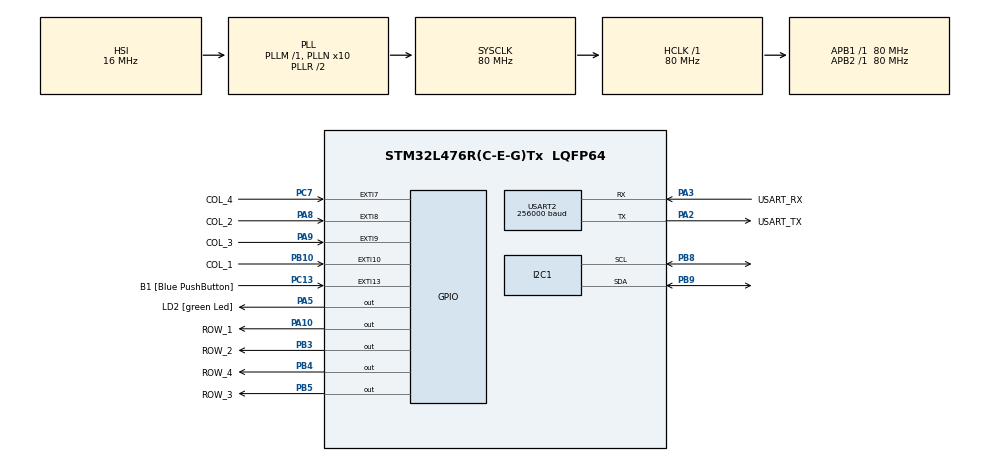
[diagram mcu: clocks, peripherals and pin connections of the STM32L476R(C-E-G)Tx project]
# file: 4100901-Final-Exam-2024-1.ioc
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I2C1.Timing=0x10909CEC
Mcu.Family=STM32L4
Mcu.Name=STM32L476R(C-E-G)Tx
Mcu.Package=LQFP64
NVIC.EXTI15_10_IRQn=true\:0\:0\:false\:false\:true\:true\:true\:true
NVIC.EXTI9_5_IRQn=true\:0\:0\:false\:false\:true\:true\:true\:true
NVIC.I2C1_ER_IRQn=true\:0\:0\:false\:false\:true\:true\:true\:true
NVIC.I2C1_EV_IRQn=true\:0\:0\:false\:false\:true\:true\:true\:true
NVIC.PriorityGroup=NVIC_PRIORITYGROUP_4
NVIC.USART2_IRQn=true\:0\:0\:false\:false\:true\:true\:true\:true
PA10.GPIO_Label=ROW_1
PA10.PinState=GPIO_PIN_SET
PA10.Signal=GPIO_Output
PA13\ (JTMS-SWDIO).GPIO_Label=TMS
PA13\ (JTMS-SWDIO).Mode=Serial_Wire
PA13\ (JTMS-SWDIO).Signal=SYS_JTMS-SWDIO
PA14\ (JTCK-SWCLK).GPIO_Label=TCK
PA14\ (JTCK-SWCLK).Mode=Serial_Wire
PA14\ (JTCK-SWCLK).Signal=SYS_JTCK-SWCLK
PA2.GPIO_Label=USART_TX
PA2.GPIO_Mode=GPIO_MODE_AF_PP
PA2.GPIO_PuPd=GPIO_NOPULL
PA2.GPIO_Speed=GPIO_SPEED_FREQ_VERY_HIGH
PA2.Mode=Asynchronous
PA2.Signal=USART2_TX
PA3.GPIO_Label=USART_RX
PA3.GPIO_Mode=GPIO_MODE_AF_PP
PA3.GPIO_PuPd=GPIO_NOPULL
PA3.GPIO_Speed=GPIO_SPEED_FREQ_VERY_HIGH
PA3.Mode=Asynchronous
PA3.Signal=USART2_RX
PA5.GPIO_Label=LD2 [green Led]
PA5.GPIO_ModeDefaultOutputPP=GPIO_MODE_OUTPUT_PP
PA5.GPIO_PuPd=GPIO_NOPULL
PA5.GPIO_Speed=GPIO_SPEED_FREQ_LOW
PA5.Signal=GPIO_Output
PA8.GPIO_Label=COL_2
PA8.GPIO_PuPd=GPIO_PULLDOWN
PA8.Signal=GPXTI8
PA9.GPIO_Label=COL_3
PA9.GPIO_PuPd=GPIO_PULLDOWN
PA9.Signal=GPXTI9
PB10.GPIO_Label=COL_1
PB10.GPIO_PuPd=GPIO_PULLDOWN
PB10.Signal=GPXTI10
PB3\ (JTDO-TRACESWO).GPIO_Label=ROW_2
PB3\ (JTDO-TRACESWO).PinState=GPIO_PIN_SET
PB3\ (JTDO-TRACESWO).Signal=GPIO_Output
PB4\ (NJTRST).GPIO_Label=ROW_4
PB4\ (NJTRST).PinState=GPIO_PIN_SET
PB4\ (NJTRST).Signal=GPIO_Output
PB5.GPIO_Label=ROW_3
PB5.PinState=GPIO_PIN_SET
PB5.Signal=GPIO_Output
PB8.Mode=I2C
PB8.Signal=I2C1_SCL
PB9.Mode=I2C
PB9.Signal=I2C1_SDA
PC13.GPIO_Label=B1 [Blue PushButton]
PC13.GPIO_ModeDefaultEXTI=GPIO_MODE_IT_FALLING
PC13.GPIO_PuPd=GPIO_NOPULL
PC13.Signal=GPXTI13
PC14-OSC32_IN\ (PC14).Mode=LSE-External-Oscillator
PC14-OSC32_IN\ (PC14).Signal=RCC_OSC32_IN
PC15-OSC32_OUT\ (PC15).Mode=LSE-External-Oscillator
PC15-OSC32_OUT\ (PC15).Signal=RCC_OSC32_OUT
PC7.GPIO_Label=COL_4
PC7.GPIO_PuPd=GPIO_PULLDOWN
PC7.Signal=GPXTI7
PH0-OSC_IN\ (PH0).Signal=RCC_OSC_IN
PH1-OSC_OUT\ (PH1).Signal=RCC_OSC_OUT
ProjectManager.HeapSize=0x200
ProjectManager.StackSize=0x400
ProjectManager.TargetToolchain=STM32CubeIDE
RCC.ADCFreq_Value=64000000
RCC.AHBFreq_Value=80000000
RCC.APB1Freq_Value=80000000
RCC.APB1TimFreq_Value=80000000
RCC.APB2Freq_Value=80000000
RCC.APB2TimFreq_Value=80000000
RCC.CortexFreq_Value=80000000
RCC.HCLKFreq_Value=80000000
RCC.HSE_VALUE=8000000
RCC.HSI_VALUE=16000000
RCC.MSI_VALUE=4000000
RCC.PLLN=10
RCC.PLLSourceVirtual=RCC_PLLSOURCE_HSI
RCC.PREFETCH_ENABLE=1
RCC.SYSCLKFreq_VALUE=80000000
RCC.SYSCLKSource=RCC_SYSCLKSOURCE_PLLCLK
RCC.USBFreq_Value=64000000
RCC.VCOOutputFreq_Value=160000000
USART2.BaudRate=256000
USART2.VirtualMode-Asynchronous=VM_ASYNC
USART2.WordLength=WORDLENGTH_8B
board=NUCLEO-L476RG

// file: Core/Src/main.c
/* USER CODE BEGIN Header */
/**
  ******************************************************************************
  * @file           : main.c
  * @brief          : Main program body
  ******************************************************************************
  * @attention
  *
  * Copyright (c) 2024 STMicroelectronics.
  * All rights reserved.
  *
  * This software is licensed under terms that can be found in the LICENSE file
  * in the root directory of this software component.
  * If no LICENSE file comes with this software, it is provided AS-IS.
  *
  ******************************************************************************
  */
/* USER CODE END Header */
#include "main.h"

/* USER CODE BEGIN Includes */
#include <stdio.h>

#include "ssd1306.h"
#include "ssd1306_fonts.h"

#include "ring_buffer.h"
#include "keypad.h"
/* USER CODE END Includes */

/* USER CODE BEGIN PM */
#define AWAKE_TIME (5 * 1000) // 5 segundos
/* USER CODE END PM */

I2C_HandleTypeDef hi2c1;

UART_HandleTypeDef huart2;

/* USER CODE BEGIN PV */
#define KEYPAD_RB_LEN 4
uint8_t keypad_data = 0xFF;
uint8_t keypad_buffer[KEYPAD_RB_LEN];
ring_buffer_t keypad_rb;

#define USART2_RB_LEN 4
uint8_t usart2_data = 0xFF;
uint8_t usart2_buffer[USART2_RB_LEN];
ring_buffer_t usart2_rb;

#define KEYPAD_MAX_DIGITS 4
uint16_t keypad_value = 0;  // Almacenar el valor actual del keypad
uint8_t keypad_digit_count = 0;  // Número de dígitos recibidos
// Declarar las variables globalmente

uint32_t usart_value = 0;   // Valor recibido por USART2
/* USER CODE END PV */

void SystemClock_Config(void);
static void MX_GPIO_Init(void);
static void MX_USART2_UART_Init(void);
static void MX_I2C1_Init(void);

/* USER CODE BEGIN 0 */
/**
 * @brief Función para transmitir datos a través del UART.
 * @param file: Descriptor del archivo (no utilizado).
 * @param ptr: Puntero al buffer de datos a transmitir.
 * @param len: Número de bytes a transmitir.
 * @retval Número de bytes transmitidos.
 */
int _write(int file, char *ptr, int len)
{
  HAL_UART_Transmit(&huart2, (uint8_t *)ptr, len, 10);
  return len;
}

/**
  * @brief  Configura el reloj del sistema para usar el oscilador interno MSI (Multi-Speed Internal)
  *         en lugar del HSI (High-Speed Internal). Esto reduce el consumo de energía al usar un
  *         reloj interno de menor frecuencia. El reloj del sistema se establece en la gama 0 del MSI
  *         (100 kHz).
  *
  *         La función realiza los siguientes pasos:
  *         1. Configura el oscilador MSI en el rango 0 (100 kHz).
  *         2. Establece el MSI como la fuente del reloj del sistema.
  *         3. Desactiva el HSI para reducir el consumo de energía.
  *
  * @retval None
  */
void SystemClock_Decrease(void)
{
    RCC_ClkInitTypeDef RCC_ClkInitStruct = {0};
    RCC_OscInitTypeDef RCC_OscInitStruct = {0};

    /* Configuración del oscilador MSI en el rango 0 (100 kHz) */
    RCC_OscInitStruct.OscillatorType = RCC_OSCILLATORTYPE_MSI;
    RCC_OscInitStruct.MSIState = RCC_MSI_ON;
    RCC_OscInitStruct.MSIClockRange = RCC_MSIRANGE_0;
    RCC_OscInitStruct.MSICalibrationValue = RCC_MSICALIBRATION_DEFAULT;
    RCC_OscInitStruct.PLL.PLLState = RCC_PLL_NONE;

    // Configura el oscilador MSI
    if(HAL_RCC_OscConfig(&RCC_OscInitStruct) != HAL_OK)
    {
        // Error en la inicialización del oscilador MSI
        Error_Handler();
    }

    /* Selecciona el MSI como fuente del reloj del sistema y mantiene los divisores de HCLK, PCLK1 y PCLK2 */
    RCC_ClkInitStruct.ClockType = RCC_CLOCKTYPE_SYSCLK;
    RCC_ClkInitStruct.SYSCLKSource = RCC_SYSCLKSOURCE_MSI;

    // Configura el reloj del sistema para usar el MSI
    if(HAL_RCC_ClockConfig(&RCC_ClkInitStruct, FLASH_LATENCY_0) != HAL_OK)
    {
        // Error en la configuración del reloj del sistema
        Error_Handler();
    }

    /* Desactiva el HSI para reducir el consumo de energía ya que se usa MSI a partir de este punto */
    __HAL_RCC_HSI_DISABLE();
}

/**
 * @brief Callback que se ejecuta cuando se recibe un dato a través de USART2.
 * @param huart: Handler del UART que generó la interrupción.
 */

/**
  * @brief  Enters a low-power sleep mode to reduce power consumption.
  *         The microcontroller will enter sleep mode for a specified duration,
  *         during which most peripherals will be disabled to save power.
  *         The system will wake up when the user push-button is pressed.
  *
  *         This function uses the System Tick Timer (SysTick) to keep track of
  *         the sleep duration. When the specified awake time has elapsed,
  *         the system will re-enable the necessary peripherals and resume normal operation.
  *
  * @note   The awake time is defined as 5 seconds (5000 milliseconds).
  *         The function disables all AHB and APB peripherals to minimize power consumption.
  *         It also suspends the SysTick timer to prevent unwanted wake-ups and then resumes it
  *         after exiting sleep mode.
  *
  * @retval None
  */
void low_power_sleep_mode(void)
{
    #define AWAKE_TIME (5 * 1000) // 5 segundos (5000 milisegundos)

    static uint32_t sleep_tick = AWAKE_TIME; // Inicializa el tiempo de sueño

    // Verifica si el tiempo actual es menor que el tiempo de sueño restante
    if (sleep_tick > HAL_GetTick()) {
        return; // No es momento de entrar en modo de sueño
    }

    printf("Sleeping\r\n");

    // Actualiza el tiempo de sueño para la próxima vez
    sleep_tick = HAL_GetTick() + AWAKE_TIME;

    // Desactiva los relojes de los periféricos AHB y APB para reducir el consumo de energía
    RCC->AHB1SMENR  = 0x0;
    RCC->AHB2SMENR  = 0x0;
    RCC->AHB3SMENR  = 0x0;

    RCC->APB1SMENR1 = 0x0;
    RCC->APB1SMENR2 = 0x0;
    RCC->APB2SMENR  = 0x0;

    // Suspende el incremento del SysTick para evitar que el modo de sueño sea interrumpido
    HAL_SuspendTick();

    // Entra en modo de sueño. El microcontrolador se despertará cuando se presione el botón del usuario
    HAL_PWR_EnterSLEEPMode(PWR_MAINREGULATOR_ON, PWR_SLEEPENTRY_WFI);

    // Reanuda el interruptor del SysTick si fue deshabilitado antes de entrar en modo de sueño
    HAL_ResumeTick();

    printf("Awake\r\n");
}

void HAL_UART_RxCpltCallback(UART_HandleTypeDef *huart)
{
	/* Data received in USART2 */
    if (huart->Instance == USART2) {
        if (usart2_data >= '0' && usart2_data <= '9') {
            ring_buffer_write(&usart2_rb, usart2_data);
            usart_value = usart_value * 10 + (usart2_data - '0');
        } else if (usart2_data == '#') {
            usart_value = 0;  // Reiniciar el valor por USART2
        }
        HAL_UART_Receive_IT(&huart2, &usart2_data, 1);
    }
}

/**
 * @brief Muestra el valor del keypad en la pantalla OLED.
 * @param value: Valor a mostrar.
 */

void display_keypad_value(uint16_t value) {
    // Limpiar la pantalla antes de escribir el nuevo valor
    ssd1306_Fill(Black);

    // Mover el cursor a una posición visible (por ejemplo, en la parte superior de la pantalla)
    ssd1306_SetCursor(0, 0);

    // Crear un buffer para almacenar el texto que se va a mostrar
    char buffer[10];

    // Convertir el valor numérico a una cadena de caracteres
    sprintf(buffer, "Keypad: %d", value);

    // Escribir la cadena en la pantalla OLED
    ssd1306_WriteString(buffer, Font_7x10, White);

    // Actualizar la pantalla para mostrar los cambios
    ssd1306_UpdateScreen();
}

/**
 * @brief Muestra el valor recibido por USART en la pantalla OLED.
 * @param value: Valor a mostrar.
 */
void display_usart_value(uint32_t value) {
    ssd1306_SetCursor(0, 20);  // Ajustar cursor para mostrar en otra línea
    char buffer[10];
    sprintf(buffer, "USART: %d", value);  // Mostrar el valor de USART
    ssd1306_WriteString(buffer, Font_7x10, White);
    ssd1306_UpdateScreen();
}

/**
 * @brief Callback de interrupción del GPIO.
 * @param GPIO_Pin: Pin que generó la interrupción.
 */

void HAL_GPIO_EXTI_Callback(uint16_t GPIO_Pin)
{
    if (GPIO_Pin == B1_Pin) {
        uint32_t result = keypad_value + usart_value;
        char buffer[50];

        // Mostrar resultado en OLED
        ssd1306_Fill(Black);  // Limpiar pantalla
        ssd1306_SetCursor(0, 0);
        sprintf(buffer, "Sum: %lu", result);
        ssd1306_WriteString(buffer, Font_7x10, White);
        ssd1306_UpdateScreen();

        // Enviar resultado al PC por USART2
        sprintf(buffer, "Result: %lu\r\n", result);
        HAL_UART_Transmit(&huart2, (uint8_t *)buffer, strlen(buffer), HAL_MAX_DELAY);

        // Encender o apagar el LED según si el resultado es par o impar
        if (result % 2 == 0) {
            HAL_GPIO_WritePin(GPIOA, GPIO_PIN_5, GPIO_PIN_SET);  // Encender LED
        } else {
            HAL_GPIO_WritePin(GPIOA, GPIO_PIN_5, GPIO_PIN_RESET);  // Apagar LED
        }
    }
}
/* USER CODE END 0 */

int main(void)
{

  /* MCU Configuration--------------------------------------------------------*/

  /* Reset of all peripherals, Initializes the Flash interface and the Systick. */
  HAL_Init();

  /* Configure the system clock */
  SystemClock_Config();

  /* Initialize all configured peripherals */
  MX_GPIO_Init();
  MX_USART2_UART_Init();
  MX_I2C1_Init();
  /* USER CODE BEGIN 2 */
  ssd1306_Init();
  ssd1306_Fill(Black);
  ssd1306_SetCursor(20, 20);
  ssd1306_WriteString("Welcome!", Font_7x10, White);
  ssd1306_UpdateScreen();

  HAL_UART_Receive_IT(&huart2, &usart2_data, 1);
  /* USER CODE END 2 */

  /* Infinite loop */
  /* USER CODE BEGIN WHILE */
  printf("Starting\r\n");
  while (1)
  {
    /* USER CODE END WHILE */

  }
}

void SystemClock_Config(void)
{
  RCC_OscInitTypeDef RCC_OscInitStruct = {0};
  RCC_ClkInitTypeDef RCC_ClkInitStruct = {0};

  /** Configure the main internal regulator output voltage
  */
  if (HAL_PWREx_ControlVoltageScaling(PWR_REGULATOR_VOLTAGE_SCALE1) != HAL_OK)
  {
    Error_Handler();
  }

  /** Initializes the RCC Oscillators according to the specified parameters
  * in the RCC_OscInitTypeDef structure.
  */
  RCC_OscInitStruct.OscillatorType = RCC_OSCILLATORTYPE_HSI;
  RCC_OscInitStruct.HSIState = RCC_HSI_ON;
  RCC_OscInitStruct.HSICalibrationValue = RCC_HSICALIBRATION_DEFAULT;
  RCC_OscInitStruct.PLL.PLLState = RCC_PLL_ON;
  RCC_OscInitStruct.PLL.PLLSource = RCC_PLLSOURCE_HSI;
  RCC_OscInitStruct.PLL.PLLM = 1;
  RCC_OscInitStruct.PLL.PLLN = 10;
  RCC_OscInitStruct.PLL.PLLP = RCC_PLLP_DIV7;
  RCC_OscInitStruct.PLL.PLLQ = RCC_PLLQ_DIV2;
  RCC_OscInitStruct.PLL.PLLR = RCC_PLLR_DIV2;
  if (HAL_RCC_OscConfig(&RCC_OscInitStruct) != HAL_OK)
  {
    Error_Handler();
  }

  /** Initializes the CPU, AHB and APB buses clocks
  */
  RCC_ClkInitStruct.ClockType = RCC_CLOCKTYPE_HCLK|RCC_CLOCKTYPE_SYSCLK
                              |RCC_CLOCKTYPE_PCLK1|RCC_CLOCKTYPE_PCLK2;
  RCC_ClkInitStruct.SYSCLKSource = RCC_SYSCLKSOURCE_PLLCLK;
  RCC_ClkInitStruct.AHBCLKDivider = RCC_SYSCLK_DIV1;
  RCC_ClkInitStruct.APB1CLKDivider = RCC_HCLK_DIV1;
  RCC_ClkInitStruct.APB2CLKDivider = RCC_HCLK_DIV1;

  if (HAL_RCC_ClockConfig(&RCC_ClkInitStruct, FLASH_LATENCY_4) != HAL_OK)
  {
    Error_Handler();
  }
}

static void MX_I2C1_Init(void)
{

  hi2c1.Instance = I2C1;
  hi2c1.Init.Timing = 0x10909CEC;
  hi2c1.Init.OwnAddress1 = 0;
  hi2c1.Init.AddressingMode = I2C_ADDRESSINGMODE_7BIT;
  hi2c1.Init.DualAddressMode = I2C_DUALADDRESS_DISABLE;
  hi2c1.Init.OwnAddress2 = 0;
  hi2c1.Init.OwnAddress2Masks = I2C_OA2_NOMASK;
  hi2c1.Init.GeneralCallMode = I2C_GENERALCALL_DISABLE;
  hi2c1.Init.NoStretchMode = I2C_NOSTRETCH_DISABLE;
  if (HAL_I2C_Init(&hi2c1) != HAL_OK)
  {
    Error_Handler();
  }

  /** Configure Analogue filter
  */
  if (HAL_I2CEx_ConfigAnalogFilter(&hi2c1, I2C_ANALOGFILTER_ENABLE) != HAL_OK)
  {
    Error_Handler();
  }

  /** Configure Digital filter
  */
  if (HAL_I2CEx_ConfigDigitalFilter(&hi2c1, 0) != HAL_OK)
  {
    Error_Handler();
  }

}

static void MX_USART2_UART_Init(void)
{

  huart2.Instance = USART2;
  huart2.Init.BaudRate = 256000;
  huart2.Init.WordLength = UART_WORDLENGTH_8B;
  huart2.Init.StopBits = UART_STOPBITS_1;
  huart2.Init.Parity = UART_PARITY_NONE;
  huart2.Init.Mode = UART_MODE_TX_RX;
  huart2.Init.HwFlowCtl = UART_HWCONTROL_NONE;
  huart2.Init.OverSampling = UART_OVERSAMPLING_16;
  huart2.Init.OneBitSampling = UART_ONE_BIT_SAMPLE_DISABLE;
  huart2.AdvancedInit.AdvFeatureInit = UART_ADVFEATURE_NO_INIT;
  if (HAL_UART_Init(&huart2) != HAL_OK)
  {
    Error_Handler();
  }

}

static void MX_GPIO_Init(void)
{
  GPIO_InitTypeDef GPIO_InitStruct = {0};

  /* GPIO Ports Clock Enable */
  __HAL_RCC_GPIOC_CLK_ENABLE();
  __HAL_RCC_GPIOH_CLK_ENABLE();
  __HAL_RCC_GPIOA_CLK_ENABLE();
  __HAL_RCC_GPIOB_CLK_ENABLE();

  /*Configure GPIO pin Output Level */
  HAL_GPIO_WritePin(LD2_GPIO_Port, LD2_Pin, GPIO_PIN_RESET);

  /*Configure GPIO pin Output Level */
  HAL_GPIO_WritePin(ROW_1_GPIO_Port, ROW_1_Pin, GPIO_PIN_SET);

  /*Configure GPIO pin Output Level */
  HAL_GPIO_WritePin(GPIOB, ROW_2_Pin|ROW_4_Pin|ROW_3_Pin, GPIO_PIN_SET);

  /*Configure GPIO pin : B1_Pin */
  GPIO_InitStruct.Pin = B1_Pin;
  GPIO_InitStruct.Mode = GPIO_MODE_IT_FALLING;
  GPIO_InitStruct.Pull = GPIO_NOPULL;
  HAL_GPIO_Init(B1_GPIO_Port, &GPIO_InitStruct);

  /*Configure GPIO pins : LD2_Pin ROW_1_Pin */
  GPIO_InitStruct.Pin = LD2_Pin|ROW_1_Pin;
  GPIO_InitStruct.Mode = GPIO_MODE_OUTPUT_PP;
  GPIO_InitStruct.Pull = GPIO_NOPULL;
  GPIO_InitStruct.Speed = GPIO_SPEED_FREQ_LOW;
  HAL_GPIO_Init(GPIOA, &GPIO_InitStruct);

  /*Configure GPIO pin : COL_1_Pin */
  GPIO_InitStruct.Pin = COL_1_Pin;
  GPIO_InitStruct.Mode = GPIO_MODE_IT_RISING;
  GPIO_InitStruct.Pull = GPIO_PULLDOWN;
  HAL_GPIO_Init(COL_1_GPIO_Port, &GPIO_InitStruct);

  /*Configure GPIO pin : COL_4_Pin */
  GPIO_InitStruct.Pin = COL_4_Pin;
  GPIO_InitStruct.Mode = GPIO_MODE_IT_RISING;
  GPIO_InitStruct.Pull = GPIO_PULLDOWN;
  HAL_GPIO_Init(COL_4_GPIO_Port, &GPIO_InitStruct);

  /*Configure GPIO pins : COL_2_Pin COL_3_Pin */
  GPIO_InitStruct.Pin = COL_2_Pin|COL_3_Pin;
  GPIO_InitStruct.Mode = GPIO_MODE_IT_RISING;
  GPIO_InitStruct.Pull = GPIO_PULLDOWN;
  HAL_GPIO_Init(GPIOA, &GPIO_InitStruct);

  /*Configure GPIO pins : ROW_2_Pin ROW_4_Pin ROW_3_Pin */
  GPIO_InitStruct.Pin = ROW_2_Pin|ROW_4_Pin|ROW_3_Pin;
  GPIO_InitStruct.Mode = GPIO_MODE_OUTPUT_PP;
  GPIO_InitStruct.Pull = GPIO_NOPULL;
  GPIO_InitStruct.Speed = GPIO_SPEED_FREQ_LOW;
  HAL_GPIO_Init(GPIOB, &GPIO_InitStruct);

  /* EXTI interrupt init*/
  HAL_NVIC_SetPriority(EXTI9_5_IRQn, 0, 0);
  HAL_NVIC_EnableIRQ(EXTI9_5_IRQn);

  HAL_NVIC_SetPriority(EXTI15_10_IRQn, 0, 0);
  HAL_NVIC_EnableIRQ(EXTI15_10_IRQn);

}

void Error_Handler(void)
{
  __disable_irq();
  while (1)
  {
  }
}
